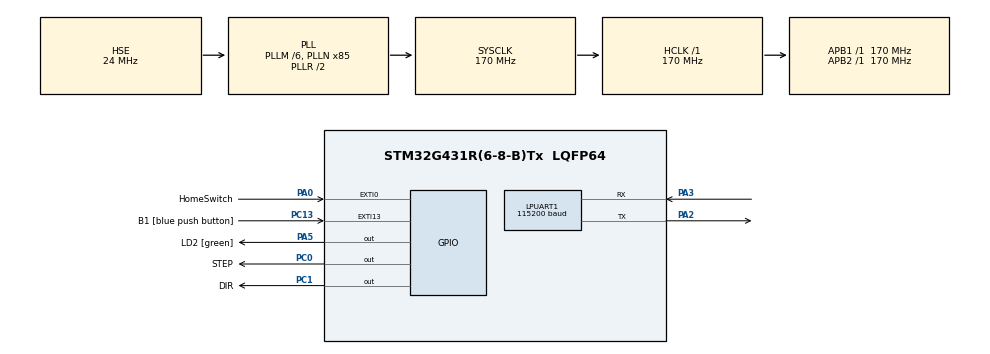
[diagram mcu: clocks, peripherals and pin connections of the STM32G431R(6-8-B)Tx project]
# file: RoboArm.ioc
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Dma.LPUART1_RX.0.Direction=DMA_PERIPH_TO_MEMORY
Dma.LPUART1_RX.0.EventEnable=DISABLE
Dma.LPUART1_RX.0.Instance=DMA1_Channel1
Dma.LPUART1_RX.0.MemDataAlignment=DMA_MDATAALIGN_BYTE
Dma.LPUART1_RX.0.MemInc=DMA_MINC_ENABLE
Dma.LPUART1_RX.0.Mode=DMA_CIRCULAR
Dma.LPUART1_RX.0.PeriphDataAlignment=DMA_PDATAALIGN_BYTE
Dma.LPUART1_RX.0.PeriphInc=DMA_PINC_DISABLE
Dma.LPUART1_RX.0.Polarity=HAL_DMAMUX_REQ_GEN_RISING
Dma.LPUART1_RX.0.Priority=DMA_PRIORITY_LOW
Dma.LPUART1_RX.0.RequestNumber=1
Dma.LPUART1_RX.0.SignalID=NONE
Dma.LPUART1_RX.0.SyncEnable=DISABLE
Dma.LPUART1_RX.0.SyncPolarity=HAL_DMAMUX_SYNC_NO_EVENT
Dma.LPUART1_RX.0.SyncRequestNumber=1
Dma.LPUART1_RX.0.SyncSignalID=NONE
Dma.Request0=LPUART1_RX
LPUART1.BaudRate=115200
Mcu.Family=STM32G4
Mcu.Name=STM32G431R(6-8-B)Tx
Mcu.Package=LQFP64
NVIC.DMA1_Channel1_IRQn=true\:0\:0\:false\:false\:true\:false\:true\:true
NVIC.EXTI0_IRQn=true\:0\:0\:false\:false\:true\:true\:true\:true
NVIC.LPUART1_IRQn=true\:0\:0\:false\:false\:true\:true\:true\:true
NVIC.PriorityGroup=NVIC_PRIORITYGROUP_4
PA0.GPIO_Label=HomeSwitch
PA0.GPIO_PuPd=GPIO_PULLDOWN
PA0.Signal=GPXTI0
PA13.GPIO_Label=T_SWDIO
PA13.Mode=Serial_Wire
PA13.Signal=SYS_JTMS-SWDIO
PA14.GPIO_Label=T_SWCLK
PA14.Mode=Serial_Wire
PA14.Signal=SYS_JTCK-SWCLK
PA2.Mode=Asynchronous
PA2.Signal=LPUART1_TX
PA3.Mode=Asynchronous
PA3.Signal=LPUART1_RX
PA5.GPIO_Label=LD2 [green]
PA5.Signal=GPIO_Output
PB3.GPIO_Label=T_SWO
PB3.Signal=SYS_JTDO-SWO
PC0.GPIO_Label=STEP
PC0.Signal=GPIO_Output
PC1.GPIO_Label=DIR
PC1.Signal=GPIO_Output
PC13.GPIO_Label=B1 [blue push button]
PC13.Signal=GPXTI13
PC14-OSC32_IN.GPIO_Label=RCC_OSC32_OUT
PC14-OSC32_IN.Mode=LSE-External-Oscillator
PC14-OSC32_IN.Signal=RCC_OSC32_IN
PC15-OSC32_OUT.GPIO_Label=RCC_OSC32_OUT
PC15-OSC32_OUT.Mode=LSE-External-Oscillator
PC15-OSC32_OUT.Signal=RCC_OSC32_OUT
PF0-OSC_IN.GPIO_Label=RCC_OSC_IN
PF0-OSC_IN.Mode=HSE-External-Oscillator
PF0-OSC_IN.Signal=RCC_OSC_IN
PF1-OSC_OUT.GPIO_Label=RCC_OSC_OUT
PF1-OSC_OUT.Mode=HSE-External-Oscillator
PF1-OSC_OUT.Signal=RCC_OSC_OUT
ProjectManager.HeapSize=0x200
ProjectManager.StackSize=0x400
ProjectManager.TargetToolchain=STM32CubeIDE
RCC.ADC12Freq_Value=170000000
RCC.AHBFreq_Value=170000000
RCC.APB1Freq_Value=170000000
RCC.APB1TimFreq_Value=170000000
RCC.APB2Freq_Value=170000000
RCC.APB2TimFreq_Value=170000000
RCC.CortexFreq_Value=170000000
RCC.EXTERNAL_CLOCK_VALUE=12288000
RCC.HCLKFreq_Value=170000000
RCC.HSE_VALUE=24000000
RCC.HSI48_VALUE=48000000
RCC.HSI_VALUE=16000000
RCC.PLLM=RCC_PLLM_DIV6
RCC.PLLN=85
RCC.PLLSourceVirtual=RCC_PLLSOURCE_HSE
RCC.RTCClockSelection=RCC_RTCCLKSOURCE_LSE
RCC.SYSCLKFreq_VALUE=170000000
RCC.SYSCLKSource=RCC_SYSCLKSOURCE_PLLCLK
RCC.USBFreq_Value=170000000
RCC.VCOOutputFreq_Value=340000000
STMicroelectronics.X-CUBE-ALGOBUILD.1.4.0.LibraryCcDSPOoLibraryJjDSPOoLibrary=true
TIM1.PeriodNoDither=20000
TIM1.Prescaler=170-1
TIM2.PeriodNoDither=1000000
TIM2.Prescaler=170-1
VP_STMicroelectronics.X-CUBE-ALGOBUILD_VS_DSPOoLibraryJjLibrary_1.4.0_1.4.0.Mode=DSPOoLibraryJjLibrary
VP_SYS_VS_DBSignals.Mode=DisableDeadBatterySignals
VP_TIM1_VS_ClockSourceINT.Mode=Internal
VP_TIM2_VS_ClockSourceINT.Mode=Internal
board=NUCLEO-G431RB

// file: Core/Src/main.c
/* USER CODE BEGIN Header */
/**
  ******************************************************************************
  * @file           : main.c
  * @brief          : Main program body
  ******************************************************************************
  * @attention
  *
  * Copyright (c) 2024 STMicroelectronics.
  * All rights reserved.
  *
  * This software is licensed under terms that can be found in the LICENSE file
  * in the root directory of this software component.
  * If no LICENSE file comes with this software, it is provided AS-IS.
  *
  ******************************************************************************
  */
/* USER CODE END Header */
#include "main.h"

/* USER CODE BEGIN Includes */
#include "stdio.h"
#include "servo.h"
#include "stepper.h"
#include "string.h"
/* USER CODE END Includes */

UART_HandleTypeDef hlpuart1;
DMA_HandleTypeDef hdma_lpuart1_rx;

TIM_HandleTypeDef htim1;
TIM_HandleTypeDef htim2;

/* USER CODE BEGIN PV */
int MessageReceived =0;
char ReceivedMessage[100];
TypeServo J1Servo;
uint32_t PreviousSysTick=0;
uint8_t Homed=0;
uint8_t HomeLimitDetected=0;

/* USER CODE END PV */

void SystemClock_Config(void);
static void MX_GPIO_Init(void);
static void MX_DMA_Init(void);
static void MX_LPUART1_UART_Init(void);
static void MX_TIM2_Init(void);
static void MX_TIM1_Init(void);
/* USER CODE BEGIN PFP */
void HAL_UART_RxCpltCallback(UART_HandleTypeDef *huart){
	if(huart->Instance==LPUART1){
		MessageReceived=1;
	}
}
void HAL_GPIO_EXTI_Callback(uint16_t GPIO_Pin)
{
  if(GPIO_Pin == GPIO_PIN_0){
	  HomeLimitDetected=1;
  }

}
/* USER CODE END PFP */

int main(void)
{

  /* MCU Configuration--------------------------------------------------------*/

  /* Reset of all peripherals, Initializes the Flash interface and the Systick. */
  HAL_Init();

  /* Configure the system clock */
  SystemClock_Config();

  /* Initialize all configured peripherals */
  MX_GPIO_Init();
  MX_DMA_Init();
  MX_LPUART1_UART_Init();
  MX_TIM2_Init();
  MX_TIM1_Init();
  /* USER CODE BEGIN 2 */
  char msg[1000];
  strcpy(msg,"Axis Starting ...\n");
  HAL_UART_Transmit_IT(&hlpuart1, msg,strlen(msg));
  HAL_Delay(1000);
  strcpy(msg,"Axis Ready!\n");
  HAL_UART_Transmit_IT(&hlpuart1, msg,strlen(msg));
  HAL_Delay(100);
  HAL_UART_Receive_DMA(&hlpuart1,&ReceivedMessage , 1);
  HAL_TIM_Base_Start(&htim2);
  HAL_TIM_PWM_Start(&htim1, TIM_CHANNEL_1);
  /* USER CODE END 2 */

  /* Infinite loop */
  /* USER CODE BEGIN WHILE */

  init_servo(&J1Servo, "J1", 500, 2000, 10000, 10000, 10000, 180);
  J1Servo.target_position_degrees = 90.0f;

  set_motion_profile(&J1Servo, 2.0f, 2.0f, 70.0f);

  htim1.Instance->CCR1=500;//home servo to zero
  J1Servo.current_position_degrees=0;
  HAL_Delay(1000);

  uint32_t PreviousTimerValue=0;
  int PositionReached=0;

  Direction RequestedDirection=Stop;
  uint32_t RequestedSteps=1000;
  uint8_t MoveStepperCompleted=0;
  uint32_t StepTimeDelay=350;
  uint8_t HomingStep=10;
  int8_t msgSent=0;
  int8_t MotionSteps=10;
  int8_t ExecuteMotion=0;
  int32_t PreviousStepCount=0;
  uint32_t LastSysTick=0;
  while (1)
  {
	  if (HAL_GetTick()-PreviousSysTick>=10 && !PositionReached){
		  PositionReached= update_servo_state(&J1Servo, 0.01f, 1.0f);
		  htim1.Instance->CCR1=J1Servo.output_pwm;
		  PreviousSysTick= HAL_GetTick();
	  }

	  //Parse received commands
	  if (MessageReceived) {
		  if (ReceivedMessage[0]=='f') { // F for Forward
			  RequestedDirection=Forward;
			  RequestedSteps=20000;
			  StepTimeDelay=40;
			  sprintf(msg,"Moving Forward: %ld steps, %ld us intervals \n",RequestedSteps,StepTimeDelay);
			  MoveStepperCompleted=0;
		  }
		  else if (ReceivedMessage[0]=='r'){ // R for reverse
			  RequestedDirection=Reverse;
			  RequestedSteps=20000;
			  StepTimeDelay=40;
			  sprintf(msg,"Moving Reverse: %ld steps, %ld us intervals \n",RequestedSteps,StepTimeDelay);
			  MoveStepperCompleted=0;
		  }
		  else if (ReceivedMessage[0]=='s'){ // S for Stop
			  strcpy(msg,"Stop Command received \n");
			  StepCount=0;
			  RequestedDirection=Stop;
			  ExecuteMotion=0;
			  MotionSteps=10;
			  MoveStepperCompleted=1;
		  }
		  else if (ReceivedMessage[0]=='h'){
			  strcpy(msg,"Home Command received \n");
			  Homed=0; 		// h for Home
		  }
		  else if (ReceivedMessage[0]=='a'){ // Left
			  strcpy(msg,"Jog Forward \n");
			  RequestedDirection=Forward;
			  RequestedSteps=1;
			  StepTimeDelay=4000;
			  MoveStepperCompleted=0;
		  }
		  else if (ReceivedMessage[0]=='d'){ // Right
			  strcpy(msg,"Jog Reverse \n");
			  RequestedDirection=Reverse;
			  RequestedSteps=10;
			  StepTimeDelay=400;
			  MoveStepperCompleted=0;
		  }
		  else if (ReceivedMessage[0]=='1'){ // Right
			  strcpy(msg,"Executing Motion Profile 1 \n");
			  ExecuteMotion=1;
		  }
		  else {
			  sprintf(msg,"Undefined\n",ReceivedMessage[0]);
			  HAL_UART_Transmit_IT(&hlpuart1, msg,strlen(msg));
		  }
		  HAL_UART_Transmit_IT(&hlpuart1, msg,strlen(msg));
		  MessageReceived=0;
	  }
	  // Homing Sequence
	  if(!Homed){
		  switch (HomingStep){
		  case 10: //Move Forward a bit
			  if (!msgSent){
				  strcpy(msg,"Homing...\n");
				  HAL_UART_Transmit_IT(&hlpuart1,msg ,strlen(msg));
				  msgSent=1;
				  MoveStepperCompleted=0;
			  }
			  StepTimeDelay=300;
			  RequestedDirection=Forward;
			  RequestedSteps=500;
			  if (MoveStepperCompleted) {
				  HomingStep=20;
				  msgSent=0;
			  }
			  break;
		  case 20: // Move Backward until reaching home switch
			  if (!msgSent){
				  strcpy(msg,"Waiting for switch\n");
				  HAL_UART_Transmit_IT(&hlpuart1, msg ,strlen(msg));
				  msgSent=1;
				  MoveStepperCompleted=0;
			  }
			  RequestedDirection=Reverse;
			  RequestedSteps=10000000;
			  if (HomeLimitDetected) {
				  HomingStep=30;
				  msgSent=0;
			  }
			  break;
		  case 30: // Move to step 100 az new position 0
			  if (!msgSent){
				  strcpy(msg,"Moving to 0\n");
				  HAL_UART_Transmit_IT(&hlpuart1, msg ,strlen(msg));
				  msgSent=1;
				  MoveStepperCompleted=0;
			  }
			  RequestedDirection=Forward;
			  RequestedSteps=750;
			  if (MoveStepperCompleted) {
				  HomingStep=40;
				  msgSent=0;
			  }
			  break;
		  case 40:
			  if (!msgSent){
				  strcpy(msg,"Axis Homed!\n");
				  HAL_UART_Transmit_IT(&hlpuart1, msg ,strlen(msg));
				  msgSent=1;
			  }
			  Homed=1;
			  HomingStep=10;
			  break;
		  }
	  }

	  //Motion Sequence
	  if(ExecuteMotion){
		  uint32_t MinStepDelay=10;
		  uint32_t MaxStepDelay=1000;
		  uint32_t AccelSpan=500;

		  switch(MotionSteps){
		  case 10:
			  StepCount=0;
			  StepTimeDelay=MaxStepDelay;
			  RequestedDirection=Forward;
			  RequestedSteps=20000;
			  if(( HAL_GetTick()-LastSysTick)>=50 ||1) {
				  MoveStepperCompleted=0;
				  MotionSteps=20;
			  }
			  break;
		  case 20:
			  if (PreviousStepCount!=StepCount){
				  StepTimeDelay-=(MaxStepDelay-MinStepDelay)/AccelSpan;
				  PreviousStepCount=StepCount;
			  }
			  if (StepCount>=AccelSpan) MotionSteps=30;
			  break;
		  case 30:
			  //wait
			  if (StepCount>=(20000-AccelSpan)) MotionSteps=40;
			  break;
		  case 40:
			  if (PreviousStepCount!=StepCount){
				  StepTimeDelay+=(MaxStepDelay-MinStepDelay)/AccelSpan;
				  PreviousStepCount=StepCount;
			  }
			  LastSysTick= HAL_GetTick();
			  if (MoveStepperCompleted) MotionSteps=50;
			  break;
		  case 50:
			  StepCount=0;
			  RequestedDirection=Reverse;
			  RequestedSteps=20000;
			  if ( (HAL_GetTick()-LastSysTick)>=50||1) {
				  MoveStepperCompleted=0;
				  MotionSteps=60;
			  }
			  break;
		  case 60:
			  if (PreviousStepCount!=StepCount){
				  StepTimeDelay-=(MaxStepDelay-MinStepDelay)/AccelSpan;
				  PreviousStepCount=StepCount;
			  }
			  if (StepCount>=AccelSpan) MotionSteps=70;
			  break;
		  case 70:
			  //wait
			  if (StepCount>=(20000-AccelSpan)) MotionSteps=80;
			  break;
		  case 80:
			  if (PreviousStepCount!=StepCount){
				  StepTimeDelay+=(MaxStepDelay-MinStepDelay)/AccelSpan;
				  PreviousStepCount=StepCount;
			  }
			  LastSysTick= HAL_GetTick();
			  if (MoveStepperCompleted ) MotionSteps=10;
			  break;
		  }
	  }

	  // Move command happens here only
	  if (htim2.Instance->CNT -  PreviousTimerValue > StepTimeDelay ){ //MIN 350 AT 24vDC
		  if ( (RequestedDirection==Forward || RequestedDirection==Reverse) && !MoveStepperCompleted){
			  MoveStepperCompleted= MoveStepperTMC2209(RequestedDirection, RequestedSteps);
		  }
		  PreviousTimerValue=htim2.Instance->CNT;
	  }
	  //Limit switch on motor side kills and zeros everthing - this used for homing as well
	  if(HomeLimitDetected){
		  RequestedDirection=Stop;
		  StepCount=0;
		  HomeLimitDetected=0;
	  }

    /* USER CODE END WHILE */

  }
}

void SystemClock_Config(void)
{
  RCC_OscInitTypeDef RCC_OscInitStruct = {0};
  RCC_ClkInitTypeDef RCC_ClkInitStruct = {0};

  /** Configure the main internal regulator output voltage
  */
  HAL_PWREx_ControlVoltageScaling(PWR_REGULATOR_VOLTAGE_SCALE1_BOOST);

  /** Initializes the RCC Oscillators according to the specified parameters
  * in the RCC_OscInitTypeDef structure.
  */
  RCC_OscInitStruct.OscillatorType = RCC_OSCILLATORTYPE_HSE;
  RCC_OscInitStruct.HSEState = RCC_HSE_ON;
  RCC_OscInitStruct.PLL.PLLState = RCC_PLL_ON;
  RCC_OscInitStruct.PLL.PLLSource = RCC_PLLSOURCE_HSE;
  RCC_OscInitStruct.PLL.PLLM = RCC_PLLM_DIV6;
  RCC_OscInitStruct.PLL.PLLN = 85;
  RCC_OscInitStruct.PLL.PLLP = RCC_PLLP_DIV2;
  RCC_OscInitStruct.PLL.PLLQ = RCC_PLLQ_DIV2;
  RCC_OscInitStruct.PLL.PLLR = RCC_PLLR_DIV2;
  if (HAL_RCC_OscConfig(&RCC_OscInitStruct) != HAL_OK)
  {
    Error_Handler();
  }

  /** Initializes the CPU, AHB and APB buses clocks
  */
  RCC_ClkInitStruct.ClockType = RCC_CLOCKTYPE_HCLK|RCC_CLOCKTYPE_SYSCLK
                              |RCC_CLOCKTYPE_PCLK1|RCC_CLOCKTYPE_PCLK2;
  RCC_ClkInitStruct.SYSCLKSource = RCC_SYSCLKSOURCE_PLLCLK;
  RCC_ClkInitStruct.AHBCLKDivider = RCC_SYSCLK_DIV1;
  RCC_ClkInitStruct.APB1CLKDivider = RCC_HCLK_DIV1;
  RCC_ClkInitStruct.APB2CLKDivider = RCC_HCLK_DIV1;

  if (HAL_RCC_ClockConfig(&RCC_ClkInitStruct, FLASH_LATENCY_4) != HAL_OK)
  {
    Error_Handler();
  }
}

static void MX_LPUART1_UART_Init(void)
{

  hlpuart1.Instance = LPUART1;
  hlpuart1.Init.BaudRate = 115200;
  hlpuart1.Init.WordLength = UART_WORDLENGTH_8B;
  hlpuart1.Init.StopBits = UART_STOPBITS_1;
  hlpuart1.Init.Parity = UART_PARITY_NONE;
  hlpuart1.Init.Mode = UART_MODE_TX_RX;
  hlpuart1.Init.HwFlowCtl = UART_HWCONTROL_NONE;
  hlpuart1.Init.OneBitSampling = UART_ONE_BIT_SAMPLE_DISABLE;
  hlpuart1.Init.ClockPrescaler = UART_PRESCALER_DIV1;
  hlpuart1.AdvancedInit.AdvFeatureInit = UART_ADVFEATURE_NO_INIT;
  if (HAL_UART_Init(&hlpuart1) != HAL_OK)
  {
    Error_Handler();
  }
  if (HAL_UARTEx_SetTxFifoThreshold(&hlpuart1, UART_TXFIFO_THRESHOLD_1_8) != HAL_OK)
  {
    Error_Handler();
  }
  if (HAL_UARTEx_SetRxFifoThreshold(&hlpuart1, UART_RXFIFO_THRESHOLD_1_8) != HAL_OK)
  {
    Error_Handler();
  }
  if (HAL_UARTEx_DisableFifoMode(&hlpuart1) != HAL_OK)
  {
    Error_Handler();
  }

}

static void MX_TIM1_Init(void)
{

  TIM_ClockConfigTypeDef sClockSourceConfig = {0};
  TIM_MasterConfigTypeDef sMasterConfig = {0};

  htim1.Instance = TIM1;
  htim1.Init.Prescaler = 170-1;
  htim1.Init.CounterMode = TIM_COUNTERMODE_UP;
  htim1.Init.Period = 20000;
  htim1.Init.ClockDivision = TIM_CLOCKDIVISION_DIV1;
  htim1.Init.RepetitionCounter = 0;
  htim1.Init.AutoReloadPreload = TIM_AUTORELOAD_PRELOAD_DISABLE;
  if (HAL_TIM_Base_Init(&htim1) != HAL_OK)
  {
    Error_Handler();
  }
  sClockSourceConfig.ClockSource = TIM_CLOCKSOURCE_INTERNAL;
  if (HAL_TIM_ConfigClockSource(&htim1, &sClockSourceConfig) != HAL_OK)
  {
    Error_Handler();
  }
  sMasterConfig.MasterOutputTrigger = TIM_TRGO_RESET;
  sMasterConfig.MasterOutputTrigger2 = TIM_TRGO2_RESET;
  sMasterConfig.MasterSlaveMode = TIM_MASTERSLAVEMODE_DISABLE;
  if (HAL_TIMEx_MasterConfigSynchronization(&htim1, &sMasterConfig) != HAL_OK)
  {
    Error_Handler();
  }

}

static void MX_TIM2_Init(void)
{

  TIM_ClockConfigTypeDef sClockSourceConfig = {0};
  TIM_MasterConfigTypeDef sMasterConfig = {0};

  htim2.Instance = TIM2;
  htim2.Init.Prescaler = 170-1;
  htim2.Init.CounterMode = TIM_COUNTERMODE_UP;
  htim2.Init.Period = 1000000;
  htim2.Init.ClockDivision = TIM_CLOCKDIVISION_DIV1;
  htim2.Init.AutoReloadPreload = TIM_AUTORELOAD_PRELOAD_DISABLE;
  if (HAL_TIM_Base_Init(&htim2) != HAL_OK)
  {
    Error_Handler();
  }
  sClockSourceConfig.ClockSource = TIM_CLOCKSOURCE_INTERNAL;
  if (HAL_TIM_ConfigClockSource(&htim2, &sClockSourceConfig) != HAL_OK)
  {
    Error_Handler();
  }
  sMasterConfig.MasterOutputTrigger = TIM_TRGO_RESET;
  sMasterConfig.MasterSlaveMode = TIM_MASTERSLAVEMODE_DISABLE;
  if (HAL_TIMEx_MasterConfigSynchronization(&htim2, &sMasterConfig) != HAL_OK)
  {
    Error_Handler();
  }

}

static void MX_DMA_Init(void)
{

  /* DMA controller clock enable */
  __HAL_RCC_DMAMUX1_CLK_ENABLE();
  __HAL_RCC_DMA1_CLK_ENABLE();

  /* DMA interrupt init */
  /* DMA1_Channel1_IRQn interrupt configuration */
  HAL_NVIC_SetPriority(DMA1_Channel1_IRQn, 0, 0);
  HAL_NVIC_EnableIRQ(DMA1_Channel1_IRQn);

}

static void MX_GPIO_Init(void)
{
  GPIO_InitTypeDef GPIO_InitStruct = {0};

  /* GPIO Ports Clock Enable */
  __HAL_RCC_GPIOC_CLK_ENABLE();
  __HAL_RCC_GPIOF_CLK_ENABLE();
  __HAL_RCC_GPIOA_CLK_ENABLE();
  __HAL_RCC_GPIOB_CLK_ENABLE();

  /*Configure GPIO pin Output Level */
  HAL_GPIO_WritePin(GPIOC, STEP_Pin|DIR_Pin, GPIO_PIN_RESET);

  /*Configure GPIO pin Output Level */
  HAL_GPIO_WritePin(LD2_GPIO_Port, LD2_Pin, GPIO_PIN_RESET);

  /*Configure GPIO pin : B1_Pin */
  GPIO_InitStruct.Pin = B1_Pin;
  GPIO_InitStruct.Mode = GPIO_MODE_IT_RISING;
  GPIO_InitStruct.Pull = GPIO_NOPULL;
  HAL_GPIO_Init(B1_GPIO_Port, &GPIO_InitStruct);

  /*Configure GPIO pins : STEP_Pin DIR_Pin */
  GPIO_InitStruct.Pin = STEP_Pin|DIR_Pin;
  GPIO_InitStruct.Mode = GPIO_MODE_OUTPUT_PP;
  GPIO_InitStruct.Pull = GPIO_NOPULL;
  GPIO_InitStruct.Speed = GPIO_SPEED_FREQ_LOW;
  HAL_GPIO_Init(GPIOC, &GPIO_InitStruct);

  /*Configure GPIO pin : HomeSwitch_Pin */
  GPIO_InitStruct.Pin = HomeSwitch_Pin;
  GPIO_InitStruct.Mode = GPIO_MODE_IT_RISING;
  GPIO_InitStruct.Pull = GPIO_PULLDOWN;
  HAL_GPIO_Init(HomeSwitch_GPIO_Port, &GPIO_InitStruct);

  /*Configure GPIO pin : LD2_Pin */
  GPIO_InitStruct.Pin = LD2_Pin;
  GPIO_InitStruct.Mode = GPIO_MODE_OUTPUT_PP;
  GPIO_InitStruct.Pull = GPIO_NOPULL;
  GPIO_InitStruct.Speed = GPIO_SPEED_FREQ_LOW;
  HAL_GPIO_Init(LD2_GPIO_Port, &GPIO_InitStruct);

  /* EXTI interrupt init*/
  HAL_NVIC_SetPriority(EXTI0_IRQn, 0, 0);
  HAL_NVIC_EnableIRQ(EXTI0_IRQn);

}

void Error_Handler(void)
{
  __disable_irq();
  while (1)
  {
  }
}
